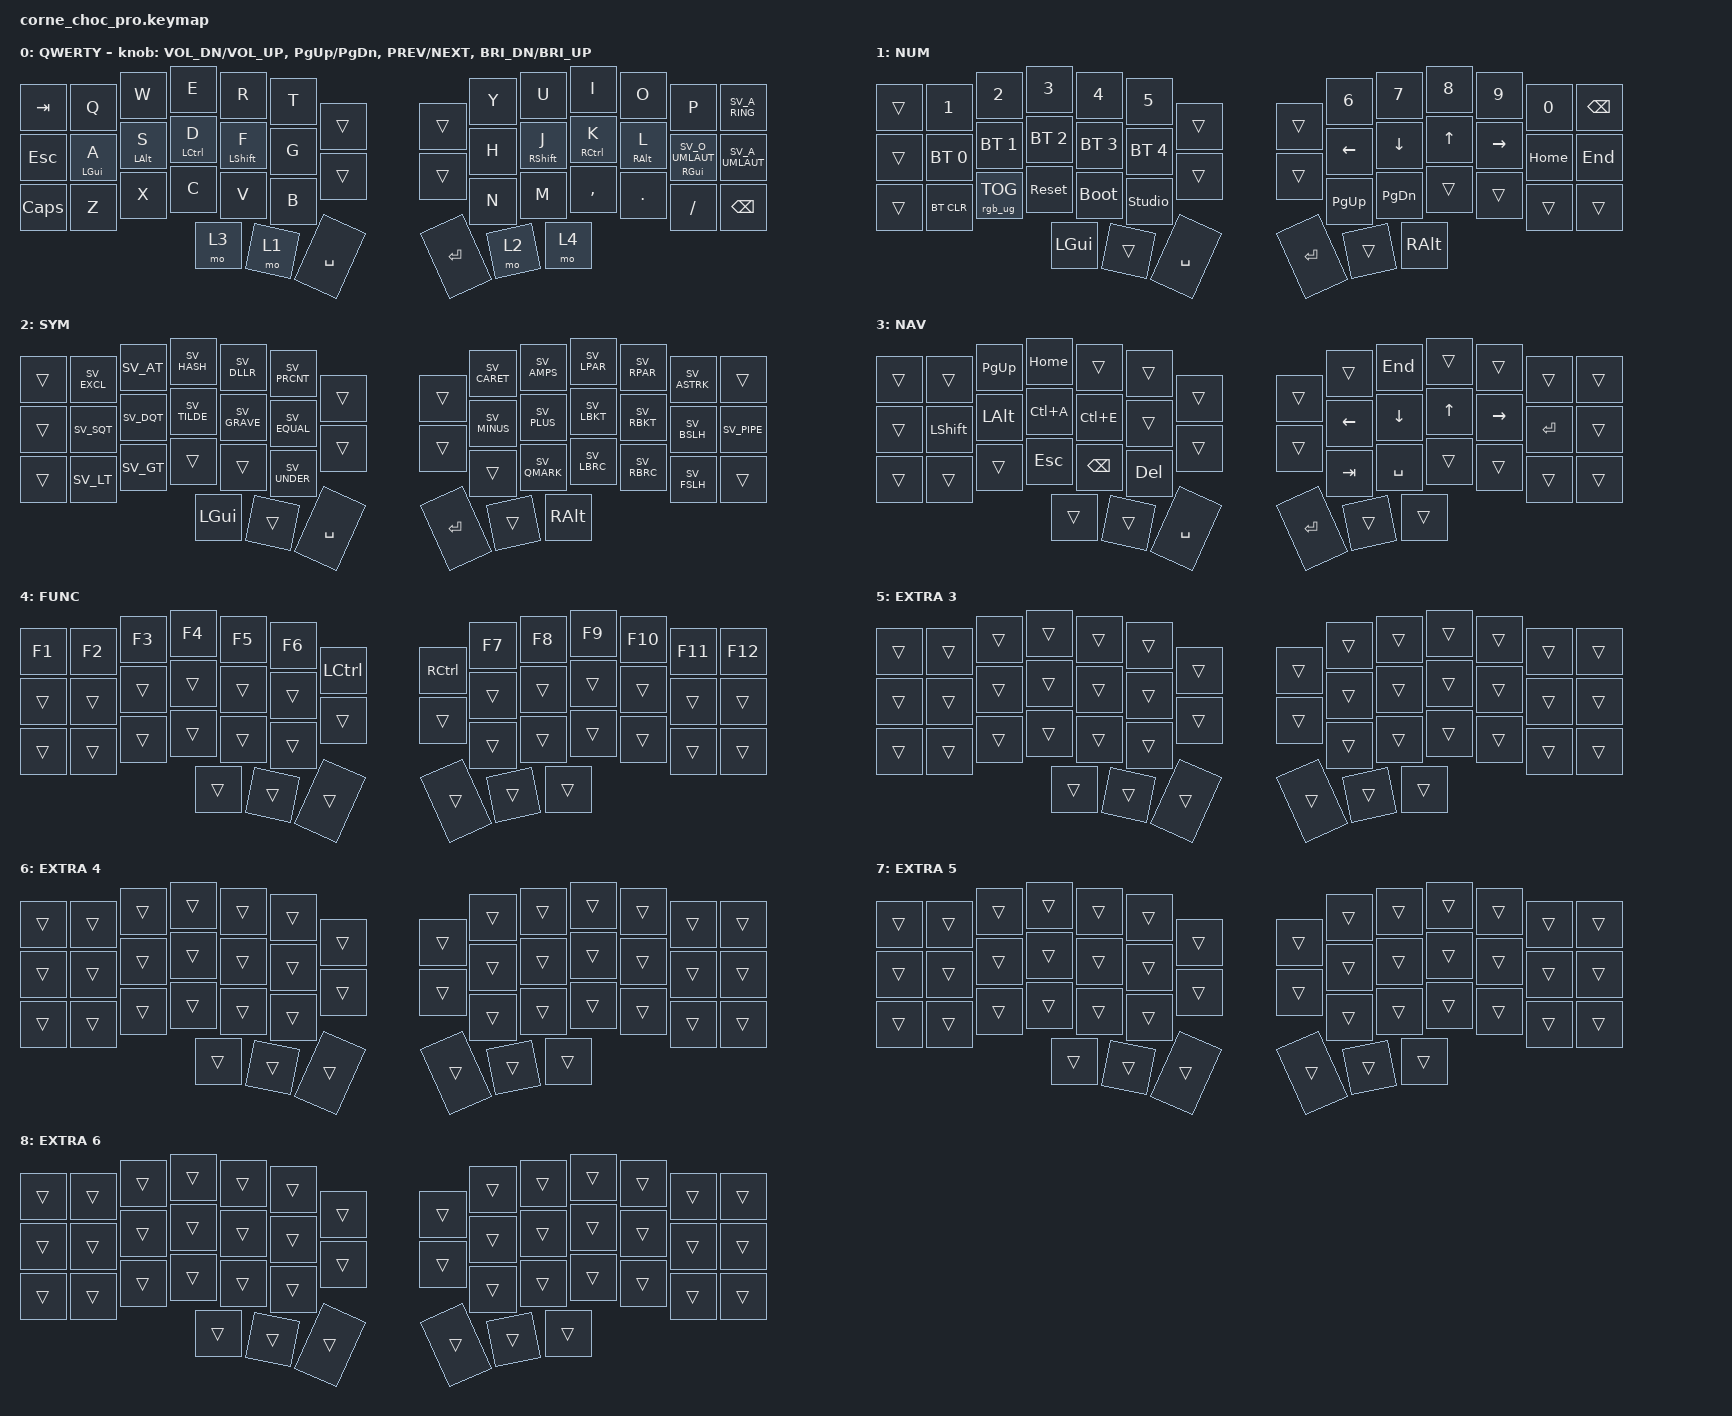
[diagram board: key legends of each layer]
 /*
  * Copyright (c) 2020 The ZMK Contributors
  *
  * SPDX-License-Identifier: MIT
   */

   #include <behaviors.dtsi>
   #include <dt-bindings/zmk/keys.h>
   #include <dt-bindings/zmk/bt.h>
   #include <dt-bindings/zmk/rgb.h>
   #include <dt-bindings/zmk/behaviors.h>
   #include <locale/keys_sv.h>

  / {
  chosen {
  zmk,physical-layout = &default_layout;
 };
 };
  
  / {
  
  
  behaviors {
 hml: home_row_mod_left {
  compatible = "zmk,behavior-hold-tap";
   #binding-cells = <2>;
  flavor = "balanced";
  require-prior-idle-ms = <150>;
  tapping-term-ms = <280>;
  quick-tap-ms = <175>;
  bindings = <&kp>, <&kp>;
  hold-trigger-key-positions = <8 9 10 11 12 13 22 23 24 25 26 27 34 35 36 37 38 39>;
  hold-trigger-on-release;
 };
 hmr: home_row_mod_right {
  compatible = "zmk,behavior-hold-tap";
   #binding-cells = <2>;
  flavor = "balanced";
  require-prior-idle-ms = <150>;
  tapping-term-ms = <280>;
  quick-tap-ms = <175>;
  bindings = <&kp>, <&kp>;
  hold-trigger-key-positions = <0 1 2 3 4 5 14 15 16 17 18 19 28 29 30 31 32 33>;
  hold-trigger-on-release;
 };
 };
   
   combos {
   compatible = "zmk,combos";
  
  combo_grave {
    timeout-ms = <50>;
    key-positions = <1 2>; // Q + W -> `
    bindings = <&kp SV_GRAVE>;
    layers = <0>;
};
    combo_tilde {
    timeout-ms = <50>;
    key-positions = <2 3>; // W + E -> ~
    bindings = <&kp SV_TILDE>;
    layers = <0>;
};
    combo_less {
    timeout-ms = <50>;
    key-positions = <10 11>; // I + O -> <
    bindings = <&kp SV_LT>;
    layers = <0>;
};
    combo_greater {
    timeout-ms = <50>;
    key-positions = <11 12>; // O + P -> >
    bindings = <&kp SV_GT>;
    layers = <0>;
};
    combo_squote {
    timeout-ms = <50>;
    key-positions = <3 4>; // E + R -> '
    bindings = <&kp SV_SQT>;
    layers = <0>;
};
    combo_dquote {
    timeout-ms = <50>;
    key-positions = <9 10>; // U + I -> "
    bindings = <&kp SV_DQT>;
    layers = <0>;
};
    combo_lbracket {
    timeout-ms = <50>;
    key-positions = <15 16>; // A + S -> [
    bindings = <&kp SV_LBKT>;
    layers = <0>;
};
    combo_lbrace {
    timeout-ms = <50>;
    key-positions = <16 17>; // S + D -> {
    bindings = <&kp SV_LBRC>;
    layers = <0>;
};
    combo_lparen {
    timeout-ms = <50>;
    key-positions = <17 18>; // D + F -> (
    bindings = <&kp SV_LPAR>;
    layers = <0>;
};
    combo_rparen {
    timeout-ms = <50>;
    key-positions = <23 24>; // J + K -> )
    bindings = <&kp SV_RPAR>;
    layers = <0>;
};
    combo_rbrace {
    timeout-ms = <50>;
    key-positions = <24 25>; // K + L -> }
    bindings = <&kp SV_RBRC>;
    layers = <0>;
};
    combo_rbracket {
    timeout-ms = <50>;
    key-positions = <25 26>; // L + Ö -> ]
    bindings = <&kp SV_RBKT>;
    layers = <0>;
};
    combo_dollar {
    timeout-ms = <50>;
    key-positions = <29 30>; // Z + X -> $
    bindings = <&kp SV_DLLR>;
    layers = <0>;
};
    combo_hash {
    timeout-ms = <50>;
    key-positions = <30 31>; // X + C -> #
    bindings = <&kp SV_HASH>;
    layers = <0>;
};
    combo_fslash {
    timeout-ms = <50>;
    key-positions = <31 32>; // C + V -> /
    bindings = <&kp SV_FSLH>;
    layers = <0>;
};
    combo_bslash {
    timeout-ms = <50>;
    key-positions = <36 37>; // , + . ->
    
    bindings = <&kp SV_BSLH>;
    layers = <0>;
};
    combo_at {
    timeout-ms = <50>;
    key-positions = <35 36>; // M + , -> @
    bindings = <&kp SV_AT>;
    layers = <0>;
};
    combo_pipe {
    timeout-ms = <50>;
    key-positions = <37 38>; // . + / -> |
    bindings = <&kp SV_PIPE>;
    layers = <0>;
};
    
    // Dual side combos (unchanged)
    combo_equal {
    timeout-ms = <50>;
    key-positions = <1 12>; // Q + P -> =
    bindings = <&kp SV_EQUAL>;
    layers = <0>;
};
    combo_percent {
    timeout-ms = <50>;
    key-positions = <2 11>; // W + O -> %
    bindings = <&kp SV_PRCNT>;
    layers = <0>;
};
    combo_caret {
    timeout-ms = <50>;
    key-positions = <3 10>; // E + I -> ^
    bindings = <&kp SV_CARET>;
    layers = <0>;
};
    combo_plus {
    timeout-ms = <50>;
    key-positions = <4 9>; // R + U -> +
    bindings = <&kp SV_PLUS>;
    layers = <0>;
};
    combo_exclam {
    timeout-ms = <50>;
    key-positions = <15 26>; // A + Ö -> !
    bindings = <&kp SV_EXCL>;
    layers = <0>;
};
    combo_question {
    timeout-ms = <50>;
    key-positions = <16 25>; // S + L -> ?
    bindings = <&kp SV_QMARK>;
    layers = <0>;
};
    combo_ampersand {
    timeout-ms = <50>;
    key-positions = <17 23>; // D + J -> &
    bindings = <&kp SV_AMPS>;
    layers = <0>;
};
    combo_asterisk {
    timeout-ms = <50>;
    key-positions = <18 24>; // F + K -> *
    bindings = <&kp SV_ASTRK>;
    layers = <0>;
};



   
   };
  
  
  
  
  
  
  keymap {
  compatible = "zmk,keymap";
  
  default_layer {
  display-name = "QWERTY";
  
  // --------------------------------------------------------------------------------
  // | TAB |  Q      | W      | E      | R      |  T  |  |  |  Y  | U      | I      | O      | P      | Å    |
  // | ESC |  GUI(s) | ALT(a) | CTR(d) | SFT(f) |  G  |  |  |  H  | SFT(j) | CTR(k) | ALT(ö) | GUI(l) | Ä    |
  // | CPS |  Z      | X      | C      | V      |  B  |     |  N  | M      | ,      | .      | -      | BSPC |
  //                          | NAV    | NMR    | SPC |     | ENT | SYM    |        |
  bindings = <
  &kp TAB  &kp Q       &kp W       &kp E        &kp R        &kp T &trans  &trans &kp Y   &kp U        &kp I        &kp O       &kp P                 &kp SV_A_RING
  &kp ESC  &hml LGUI A &hml LALT S &hml LCTRL D &hml LSHFT F &kp G &trans  &trans &kp H   &hmr RSHFT J &hmr RCTRL K &hmr RALT L &hmr RGUI SV_O_UMLAUT &kp SV_A_UMLAUT
  &kp CAPS &kp Z       &kp X       &kp C        &kp V        &kp B                &kp N   &kp M        &kp COMMA    &kp DOT     &kp FSLH              &kp BSPC
  &mo 3       &mo 1         &kp SPACE            &kp RET &mo 2        &mo 4
  >;
  sensor-bindings = <&inc_dec_kp C_VOL_DN C_VOL_UP &inc_dec_kp PG_UP PG_DN &inc_dec_kp C_PREV C_NEXT &inc_dec_kp C_BRI_DN C_BRI_UP>;
 };
  
  lower_layer {
  
  display-name = "NUM";
  // -----------------------------------------------------------------------------------------
  
  //  | TAB   |  1   |  2   |  3   |  4   |  5   |   |    |  6   |  7   |  8   |  9   |  0   | BSPC |
  //  | CTRL  | BT0  | BT1  | BT2  | BT3  | BT4  |   |   | LEFT | DOWN |  UP  | RIGHT| HOME | END  |
  //  | SHFT  | BTCLR| RGB  | RSET |BOOT  |UNLCK |       |       |PGUP |PGDN  |      |      |      |      |
  //                               | GUI  |      | SPACE|        | RET |      | ALT |
  
  bindings = <
  &trans &kp N1        &kp N2        &kp N3       &kp N4       &kp N5       &trans    &trans  &kp N6      &kp N7      &kp N8      &kp N9      &kp N0      &kp BSPC
  &trans &bt BT_SEL 0  &bt BT_SEL 1  &bt BT_SEL 2 &bt BT_SEL 3 &bt BT_SEL 4 &trans &trans &kp LEFT    &kp DOWN    &kp UP      &kp RIGHT   &kp HOME    &kp END
  &trans &bt BT_CLR    &rgb_ug RGB_TOG &sys_reset &bootloader  &studio_unlock             &kp PG_UP   &kp PG_DN   &trans      &trans      &trans      &trans
  &kp LGUI     &trans        &kp SPACE                         &kp RET     &trans      &kp RALT
  >;

 };
  
  raise_layer {
  display-name = "SYM";
  
  // |  |  !  |  @  |  #  |  $  |  %  |  |  | | |  ^  |  &  |  (  |  )  |  *  | |
  // |  |  '  |  "  |  ~  |  `  |  =  |  |  | | |  -  |  +  |  [  |  ]  |  \  |  "|"   |
  // |  |  <  |  >  |     |     |  _  |       | |     |  ?  |     |  {  |  }  |  /  |      |
  // | GUI |     | SPACE || RET |     | ALT |
  
  bindings = <
  &trans &kp SV_EXCL   &kp SV_AT     &kp SV_HASH   &kp SV_DLLR   &kp SV_PRCNT  &trans &trans &kp SV_CARET  &kp SV_AMPS   &kp SV_LPAR  &kp SV_RPAR  &kp SV_ASTRK  &trans
  &trans &kp SV_SQT    &kp SV_DQT    &kp SV_TILDE  &kp SV_GRAVE  &kp SV_EQUAL  &trans &trans &kp SV_MINUS  &kp SV_PLUS   &kp SV_LBKT  &kp SV_RBKT  &kp SV_BSLH   &kp SV_PIPE
  &trans &kp SV_LT     &kp SV_GT     &trans        &trans        &kp SV_UNDER                &trans        &kp SV_QMARK  &kp SV_LBRC  &kp SV_RBRC  &kp SV_FSLH   &trans
  &kp LGUI  &trans        &kp SPACE                          &kp RET       &trans       &kp RALT
  >;
 };
  
  
  extra_layer_1 {
  display-name = "NAV";
  
  // |  |      | PGUP | HOME |      |     ||      |      ||      | END  |      |      |      |      |
  // |  | SHFT | ALT  | C-A  | C-E  |     ||      |      || ←    | ↓    | ↑    | →    | RET  |      |
  // |  |      |      | ESC  | BSPC | DEL ||                || TAB | SPACE |      |      |      |
  // |  |      | SPACE || RET  |      |     |
  
  bindings = <
  &trans    &trans   &kp PG_UP   &kp HOME  &trans    &trans   &trans   &trans   &trans   &kp END   &trans   &trans   &trans   &trans
  &trans    &kp LSHFT &kp LALT &kp LC(A)   &kp LC(E) &trans   &trans   &trans   &kp LEFT  &kp DOWN  &kp UP   &kp RIGHT &kp RET  &trans
  &trans    &trans   &trans      &kp ESC   &kp BSPC  &kp DEL                       &kp TAB  &kp SPACE &trans     &trans   &trans   &trans
  &trans    &trans   &kp SPACE                       &kp RET  &trans   &trans
  >;
 };
  
  
  
  
  
  extra_layer_2 {
  display-name = "FUNC";
  
  // | F1  | F2  | F3  | F4  | F5  | F6  || LCTRL | RCTRL || F7  | F8  | F9  | F10 | F11 | F12 |
  // | CTRL| ALT | SHFT| GUI | INS | CAPS||       |       || MUTE| VOL- | VOL+ | PLAY| PSCR|     | //denna rad gick inte att få ordning på
  // |     |     |     |     |     |     ||                ||      |      |      |     |     |
  // |      |      |      ||       |       |      |
  bindings = <
  &kp F1     &kp F2     &kp F3     &kp F4     &kp F5     &kp F6     &kp LCTRL  &kp RCTRL  &kp F7     &kp F8     &kp F9     &kp F10    &kp F11    &kp F12
  &trans     &trans     &trans     &trans     &trans     &trans     &trans     &trans     &trans     &trans     &trans     &trans     &trans     &trans
  &trans     &trans     &trans     &trans     &trans     &trans                &trans     &trans     &trans     &trans     &trans     &trans
  &trans     &trans     &trans                &trans     &trans     &trans
  >;
 };
  
  
  extra_layer_3 {
  display-name = "EXTRA 3";
  bindings = <
  &trans &trans &trans &trans &trans &trans &trans &trans &trans &trans &trans &trans &trans &trans
  &trans &trans &trans &trans &trans &trans &trans &trans &trans &trans &trans &trans &trans &trans
  &trans &trans &trans &trans &trans &trans               &trans &trans &trans &trans &trans &trans
  &trans &trans &trans               &trans &trans &trans
  >;
 };
  
  extra_layer_4 {
  display-name = "EXTRA 4";
  bindings = <
  &trans &trans &trans &trans &trans &trans &trans &trans &trans &trans &trans &trans &trans &trans
  &trans &trans &trans &trans &trans &trans &trans &trans &trans &trans &trans &trans &trans &trans
  &trans &trans &trans &trans &trans &trans               &trans &trans &trans &trans &trans &trans
  &trans &trans &trans               &trans &trans &trans
  >;
 };
  
  extra_layer_5 {
  display-name = "EXTRA 5";
  bindings = <
  &trans &trans &trans &trans &trans &trans &trans &trans &trans &trans &trans &trans &trans &trans
  &trans &trans &trans &trans &trans &trans &trans &trans &trans &trans &trans &trans &trans &trans
  &trans &trans &trans &trans &trans &trans               &trans &trans &trans &trans &trans &trans
  &trans &trans &trans               &trans &trans &trans
  >;
 };
  
  extra_layer_6 {
  display-name = "EXTRA 6";
  bindings = <
  &trans &trans &trans &trans &trans &trans &trans &trans &trans &trans &trans &trans &trans &trans
  &trans &trans &trans &trans &trans &trans &trans &trans &trans &trans &trans &trans &trans &trans
  &trans &trans &trans &trans &trans &trans               &trans &trans &trans &trans &trans &trans
  &trans &trans &trans               &trans &trans &trans
  >;
 };
 };

 };
